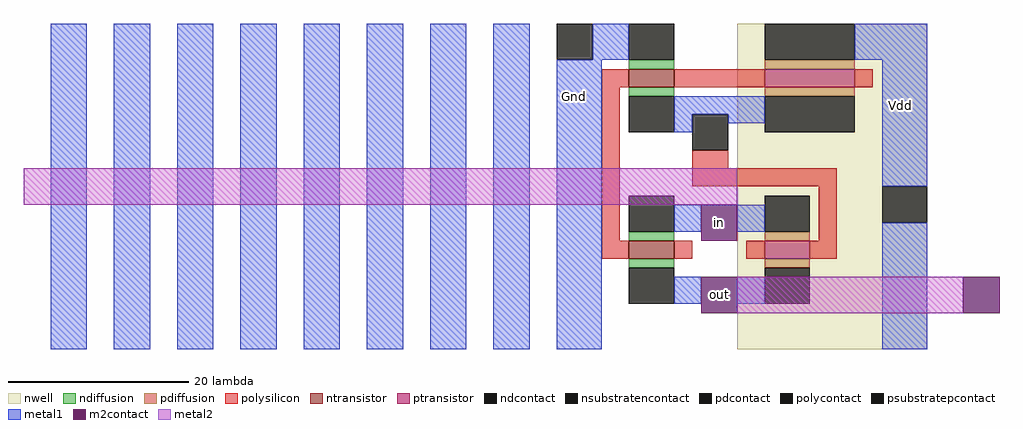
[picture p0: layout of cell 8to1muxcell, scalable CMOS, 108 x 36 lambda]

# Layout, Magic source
magic
tech scmos
<< nwell >>
rect 9 -7 30 29
<< polysilicon >>
rect -6 22 -3 24
rect 2 22 12 24
rect 22 22 24 24
rect -6 5 -4 22
rect 4 13 8 15
rect 4 11 20 13
rect 18 5 20 11
rect -6 3 -3 5
rect 2 3 4 5
rect 10 3 12 5
rect 17 3 20 5
<< ndiffusion >>
rect -3 24 2 25
rect -3 21 2 22
rect -3 5 2 6
rect -3 2 2 3
<< pdiffusion >>
rect 12 24 22 25
rect 12 21 22 22
rect 12 5 17 6
rect 12 2 17 3
<< metal1 >>
rect -67 -7 -63 29
rect -60 -7 -56 29
rect -53 -7 -49 29
rect -46 -7 -42 29
rect -39 -7 -35 29
rect -32 -7 -28 29
rect -25 -7 -21 29
rect -18 -7 -14 29
rect -7 25 -3 29
rect 22 25 30 29
rect -11 -7 -6 25
rect 2 19 12 21
rect 2 17 4 19
rect 8 18 12 19
rect 25 11 30 25
rect 2 6 5 9
rect 9 6 12 9
rect 2 -2 5 1
rect 9 -2 12 1
rect 25 -7 30 7
<< metal2 >>
rect -70 9 9 13
rect 9 -3 34 1
<< ntransistor >>
rect -3 22 2 24
rect -3 3 2 5
<< ptransistor >>
rect 12 22 22 24
rect 12 3 17 5
<< polycontact >>
rect 4 15 8 19
<< ndcontact >>
rect -3 25 2 29
rect -3 17 2 21
rect -3 6 2 10
rect -3 -2 2 2
<< pdcontact >>
rect 12 25 22 29
rect 12 17 22 21
rect 12 6 17 10
rect 12 -2 17 2
<< m2contact >>
rect 5 5 9 9
rect 5 -3 9 1
rect 34 -3 38 1
<< psubstratepcontact >>
rect -11 25 -7 29
<< nsubstratencontact >>
rect 25 7 30 11
<< labels >>
rlabel psubstratepcontact -9 21 -9 21 1 Gnd
rlabel m2contact 7 -1 7 -1 1 out
rlabel m2contact 7 7 7 7 1 in
rlabel metal1 27 20 27 20 7 Vdd
<< end >>
